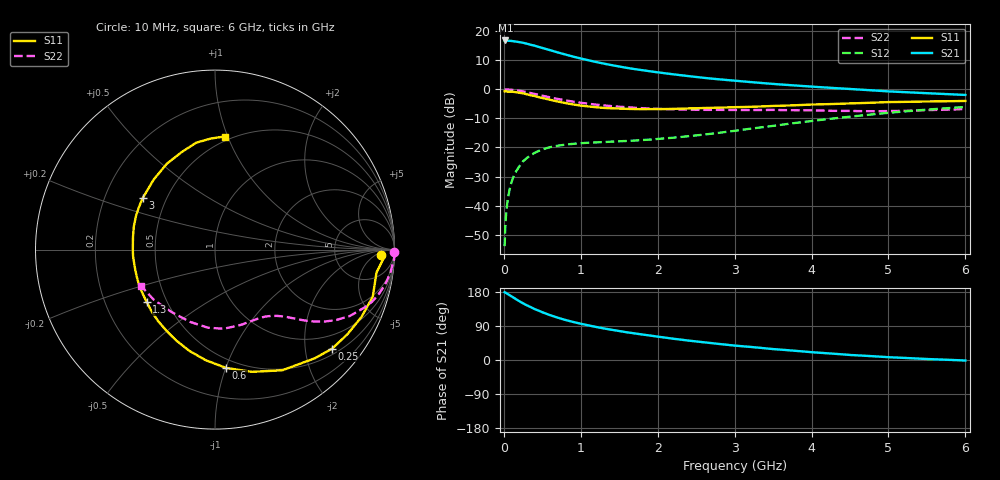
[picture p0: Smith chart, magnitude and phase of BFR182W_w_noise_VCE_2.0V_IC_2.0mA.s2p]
! (c) 2017  Infineon Technologies AG, Munich
! Infineon Technologies  Discrete & RF Semiconductors
! BFR182W
! VCE =  2.0 V,  IC =  2.0 mA
! Common Emitter S-Parameters:  Jan 2017
# GHz  S  MA  R  50
!  f  S11  S21  S12  S22
! GHz  MAG  ANG  MAG  ANG  MAG  ANG  MAG  ANG
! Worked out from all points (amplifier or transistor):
!   77 points, 10 MHz to 6 GHz, reference 50 ohm
!   highest |S21| = 16.8 dB at 20 MHz (marker M1)
!   |S21| within 3 dB of that: start of sweep to 555.7 MHz
!   unconditionally stable (mu >= 1): 1.732 GHz to 3.315 GHz
!   at 130 MHz: K = 0.08, MSG = 23.2 dB, |S12| = -29.8 dB
!   at 2.2 GHz: K = 1.09, MAG = 9.0 dB, |S12| = -16.6 dB
!   at 6 GHz: K = 0.85, MSG = 2.1 dB, |S12| = -6.0 dB
!   lowest NFmin = 0.85 dB at 450 MHz
!   S11 on the Smith chart (normalised r, x): 10 MHz: 22, -9; 250 MHz: 0.63, -2.60; 600 MHz: 0.43, -1.00; 1.3 GHz: 0.39, -0.29; 3 GHz: 0.37, +0.28; 6 GHz: 0.46, +0.98
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0.01  0.9267 -1.8  6.898 178.9  0.002 84.1  1 -0.8
0.02  0.938 -3.3  6.955 177.9  0.0047 87.9  1 -1.8
0.05  0.9087 -8.1  6.907 174.0  0.0123 83.0  0.9947 -3.9
0.09  0.914 -14.9  6.829 169.1  0.0228 81.9  0.9867 -7.0
0.15  0.8985 -24.6  6.679 161.6  0.0371 75.9  0.9676 -11.6
0.25  0.8547 -40.2  6.343 149.5  0.0578 67.3  0.9226 -18.3
0.3  0.8222 -47.4  6.102 144.2  0.066 63.7  0.8927 -21.2
0.4  0.77 -60.8  5.656 134.4  0.0809 57.2  0.8363 -26.3
0.5  0.7114 -73.2  5.169 126.0  0.0926 52.2  0.7795 -30.3
0.6  0.6623 -84.6  4.737 118.4  0.1012 48.0  0.7283 -33.4
0.7  0.6184 -94.8  4.328 111.7  0.1072 45.0  0.685 -35.8
0.8  0.5817 -104.3  3.985 105.7  0.112 42.8  0.6472 -37.8
0.9  0.5508 -113.0  3.668 100.4  0.1155 40.8  0.6159 -39.4
1.1  0.5086 -128.7  3.169 91.3  0.1208 39.2  0.5666 -42.1
1.3  0.4794 -142.5  2.776 83.3  0.124 38.8  0.5302 -44.6
1.6  0.4619 -160.2  2.346 73.1  0.1296 40.3  0.4941 -48.5
2.1  0.4587 175.7  1.89 59.0  0.1437 45.8  0.4573 -56.2
3  0.4944 144.7  1.412 38.0  0.1933 54.3  0.4426 -73.5
3.1  0.497 141.9  1.375 36.3  0.2017 54.6  0.4416 -75.6
4.1  0.5522 117.1  1.095 19.2  0.296 53.5  0.4328 -97.8
5.1  0.6068 98.4  0.911 6.5  0.4054 45.2  0.4247 -128.0
6  0.6324 85.1  0.802 -1.3  0.4984 34.8  0.4602 -154.1
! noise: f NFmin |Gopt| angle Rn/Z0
0.45  0.85  0.5  30  0.26
0.9  0.99  0.4  58  0.24
1.9  1.74  0.3  142  0.14
2.4  2.11  0.26  164  0.19
